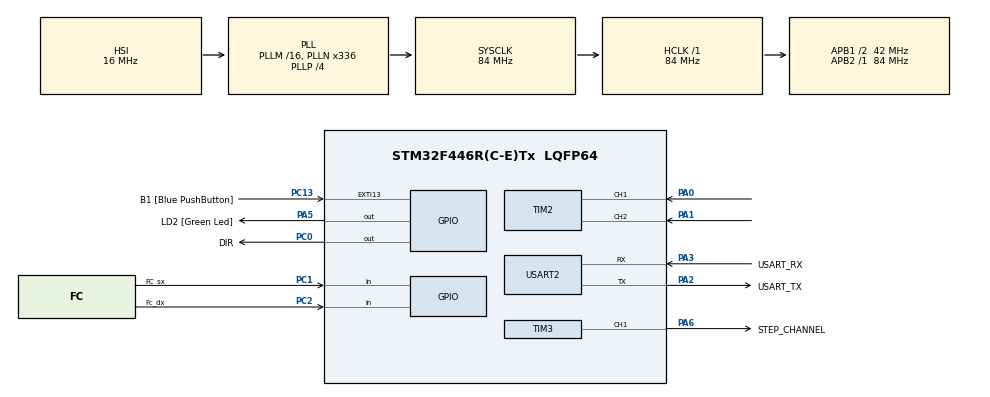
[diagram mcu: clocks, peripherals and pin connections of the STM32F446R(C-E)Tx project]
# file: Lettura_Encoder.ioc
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Mcu.Family=STM32F4
Mcu.Name=STM32F446R(C-E)Tx
Mcu.Package=LQFP64
NVIC.EXTI15_10_IRQn=true\:0\:0\:false\:false\:true\:true\:true\:false
NVIC.PriorityGroup=NVIC_PRIORITYGROUP_4
NVIC.TIM3_IRQn=true\:1\:0\:false\:false\:true\:true\:true\:true
PA0-WKUP.Signal=S_TIM2_CH1_ETR
PA1.Signal=S_TIM2_CH2
PA13.GPIO_Label=TMS
PA13.Mode=Serial_Wire
PA13.Signal=SYS_JTMS-SWDIO
PA14.GPIO_Label=TCK
PA14.Mode=Serial_Wire
PA14.Signal=SYS_JTCK-SWCLK
PA2.GPIO_Label=USART_TX
PA2.Mode=Asynchronous
PA2.Signal=USART2_TX
PA3.GPIO_Label=USART_RX
PA3.Mode=Asynchronous
PA3.Signal=USART2_RX
PA5.GPIO_Label=LD2 [Green Led]
PA5.Signal=GPIO_Output
PA6.GPIO_Label=STEP_CHANNEL
PA6.Signal=S_TIM3_CH1
PB3.GPIO_Label=SWO
PB3.Signal=SYS_JTDO-SWO
PC0.GPIO_Label=DIR
PC0.Signal=GPIO_Output
PC1.GPIO_Label=FC_sx
PC1.Signal=GPIO_Input
PC13.GPIO_Label=B1 [Blue PushButton]
PC13.GPIO_ModeDefaultEXTI=GPIO_MODE_IT_RISING_FALLING
PC13.Signal=GPXTI13
PC14-OSC32_IN.Mode=LSE-External-Oscillator
PC14-OSC32_IN.Signal=RCC_OSC32_IN
PC15-OSC32_OUT.Mode=LSE-External-Oscillator
PC15-OSC32_OUT.Signal=RCC_OSC32_OUT
PC2.GPIO_Label=Fc_dx
PC2.Signal=GPIO_Input
PH0-OSC_IN.Mode=HSE-External-Oscillator
PH0-OSC_IN.Signal=RCC_OSC_IN
PH1-OSC_OUT.Mode=HSE-External-Oscillator
PH1-OSC_OUT.Signal=RCC_OSC_OUT
ProjectManager.HeapSize=0x200
ProjectManager.StackSize=0x400
ProjectManager.TargetToolchain=STM32CubeIDE
RCC.48MHZClocksFreq_Value=84000000
RCC.AHBFreq_Value=84000000
RCC.APB1CLKDivider=RCC_HCLK_DIV2
RCC.APB1Freq_Value=42000000
RCC.APB1TimFreq_Value=84000000
RCC.APB2Freq_Value=84000000
RCC.APB2TimFreq_Value=84000000
RCC.CortexFreq_Value=84000000
RCC.FLatency-AdvancedSettings=FLASH_LATENCY_2
RCC.HCLKFreq_Value=84000000
RCC.HSE_VALUE=8000000
RCC.HSI_VALUE=16000000
RCC.PLLN=336
RCC.PLLP=RCC_PLLP_DIV4
RCC.SYSCLKFreq_VALUE=84000000
RCC.SYSCLKSource=RCC_SYSCLKSOURCE_PLLCLK
RCC.USBFreq_Value=168000000
RCC.VCOOutputFreq_Value=336000000
SH.S_TIM2_CH1_ETR.0=TIM2_CH1,Encoder_Interface
SH.S_TIM2_CH2.0=TIM2_CH2,Encoder_Interface
SH.S_TIM3_CH1.0=TIM3_CH1,PWM Generation1 CH1
TIM2.EncoderMode=TIM_ENCODERMODE_TI12
TIM3.AutoReloadPreload=TIM_AUTORELOAD_PRELOAD_ENABLE
TIM3.Channel-PWM\ Generation1\ CH1=TIM_CHANNEL_1
TIM3.Period=124
TIM3.Prescaler=83
TIM3.Pulse-PWM\ Generation1\ CH1=6
USART2.VirtualMode=VM_ASYNC
VP_TIM3_VS_ClockSourceINT.Mode=Internal
board=NUCLEO-F446RE

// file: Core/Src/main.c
/* USER CODE BEGIN Header */
/**
  ******************************************************************************
  * @file           : main.c
  * @brief          : Main program body
  ******************************************************************************
  * @attention
  *
  * Copyright (c) 2026 STMicroelectronics.
  * All rights reserved.
  *
  * This software is licensed under terms that can be found in the LICENSE file
  * in the root directory of this software component.
  * If no LICENSE file comes with this software, it is provided AS-IS.
  *
  ******************************************************************************
  */
/* USER CODE END Header */
#include "main.h"

/* USER CODE BEGIN Includes */
#include <math.h>

/* USER CODE END Includes */

/* USER CODE BEGIN PD */
#define MIRCOSTEP 32
#define STEP_CHANNEL TIM_CHANNEL_1
#define MIN_FREQUENCY MIRCOSTEP*100.0f
#define MAX_FREQUENCY MIRCOSTEP*1000.0f
#define STEPPER_ACCELERATION_HZ_PER_S 1600000.0f

// tutte i punti di rif sono da dietro
#define DIR_FORWARD  GPIO_PIN_SET   //SInistra (da dietro)
#define DIR_BACKWARD GPIO_PIN_RESET

#define HOMING_VELOCITY_HZ  MIN_FREQUENCY*2
#define HOMING_TIMEOUT_MS  120000U
#define BUTTON_RELEASE_MS  50U
/* USER CODE END PD */

TIM_HandleTypeDef htim2;
TIM_HandleTypeDef htim3;

UART_HandleTypeDef huart2;

/* USER CODE BEGIN PV */

// Var encoder
#define ENCODER_CPR  2400
#define HALF_CPR     1200
#define PI_F         3.14159265358979323846f

// Metti -1 se vuoi invertire il verso positivo dell'angolo.
#define ENCODER_SIGN  -1

static uint32_t conteggio_precedente = 0;
static int32_t posizione = HALF_CPR;

volatile float theta_deg = 180.0f;
volatile float theta_rad = PI_F;

// Var stepper
/* Soglia di partenza in Hz, modificabile prima di ogni movimento. */
float max_starting_frequency = 1000.0f;
static float stepper_target_frequency = MAX_FREQUENCY;
static float stepper_counter_clock;
static float stepper_start_frequency;
static uint32_t stepper_ramp_start_ms;
static uint32_t stepper_ramp_last_ms;
static volatile uint8_t stepper_ramp_active = 0;
volatile uint32_t step_count = 0;
volatile uint32_t step_target = 0;
volatile uint8_t stepper_running = 0;
static volatile GPIO_PinState stepper_direction = DIR_FORWARD;
static volatile uint8_t arresto_finecorsa = 0;

/* Riferimento del carrello: zero al finecorsa sinistro, positivo a destra.
 * Stima in impulsi STEP comandati, valida solo dopo homing riuscito.
 */
volatile int32_t posizione_carrello_steps = 0;
volatile int32_t posizione_carrello_min_steps = 0;
volatile int32_t posizione_carrello_max_steps = 0;
volatile uint32_t corsa_totale_steps = 0;
static volatile uint8_t riferimento_carrello_valido = 0;
volatile uint8_t carrello_inizializzato = 0;
volatile HAL_StatusTypeDef inizializzazione_esito = HAL_ERROR;

/* Il main e' l'unico contesto che puo' abilitare il controllo.
 * L'ISR puo' solo richiedere un avvio oppure fermare immediatamente.
 */
volatile uint8_t controllo_abilitato = 0;
static volatile uint8_t richiesta_avvio = 0;
static volatile uint8_t pulsante_pronto = 0;
static volatile uint8_t pulsante_inizializzato = 0;
static volatile uint32_t pulsante_rilascio_ms = 0;

/* USER CODE END PV */

void SystemClock_Config(void);
static void MX_GPIO_Init(void);
static void MX_USART2_UART_Init(void);
static void MX_TIM2_Init(void);
static void MX_TIM3_Init(void);

/* USER CODE BEGIN 0 */

/* Prima dell'abilitazione di B1, l'homing iniziale e' indipendente
 * dal comando del controllo. Dopo, ogni avvio richiede l'abilitazione.
 */
static uint8_t Stepper_MovimentoConsentito(void)
{
    return !pulsante_inizializzato || controllo_abilitato;
}

/* Attesa interrompibile: le vecchie sequenze devono uscire prima che
 * il main possa accettare una nuova richiesta di avvio.
 */
static uint8_t Controllo_Attendi(uint32_t durata_ms)
{
    uint32_t inizio = HAL_GetTick();
    while (Stepper_MovimentoConsentito()
           && (uint32_t)(HAL_GetTick() - inizio) < durata_ms)
        HAL_Delay(1);
    return Stepper_MovimentoConsentito();
}

/* Chiamata da SysTick durante i movimenti bloccanti nel main.
 * Nessun ritardo sul primo fronte di pressione; un'altra pressione viene
 * accettata solo dopo almeno 50 ms di rilascio stabile (PC13 alto).
 */
void Controllo_ButtonTick(void)
{
    if (!pulsante_inizializzato)
        return;
    uint32_t primask = __get_PRIMASK();
    __disable_irq();
    if (HAL_GPIO_ReadPin(B1_GPIO_Port, B1_Pin) == GPIO_PIN_RESET)
        pulsante_rilascio_ms = 0;
    else if (pulsante_rilascio_ms < BUTTON_RELEASE_MS)
        ++pulsante_rilascio_ms;
    else
        pulsante_pronto = 1;
    __set_PRIMASK(primask);
}

void Leggi_theta(){
	uint32_t conteggio = __HAL_TIM_GET_COUNTER(&htim2);

	int64_t delta = (int64_t)conteggio
				- (int64_t)conteggio_precedente;

	conteggio_precedente = conteggio;

	// Gestione del passaggio attraverso lo zero del timer a 32 bit.
	if (delta > 2147483647LL)
	  delta -= 4294967296LL;
	else if (delta < -2147483648LL)
	  delta += 4294967296LL;

	// Aggiorna la posizione e la riporta entro un giro.
	int64_t nuova_posizione =
	  ((int64_t)posizione + ENCODER_SIGN * delta) % ENCODER_CPR;

	// Intervallo conteggi: (-1200, +1200].
	if (nuova_posizione > HALF_CPR)
	  nuova_posizione -= ENCODER_CPR;
	else if (nuova_posizione <= -HALF_CPR)
	  nuova_posizione += ENCODER_CPR;

	posizione = (int32_t)nuova_posizione;

	// Le due uscite richieste.
	theta_deg = (float)posizione * (360.0f / ENCODER_CPR);
	theta_rad = (float)posizione * (2.0f * PI_F / ENCODER_CPR);
}

/* Pull-down esterno: 1 quando il contatto porta PC1 a livello alto,
 * 0 quando l'ingresso e' basso. Lettura istantanea senza antirimbalzo.
 */
uint8_t FinecorsaSinistro_Premuto(void)
{
    return HAL_GPIO_ReadPin(FC_sx_GPIO_Port, FC_sx_Pin) == GPIO_PIN_SET;
}

/* Come il sinistro: pull-down esterno, contatto premuto a livello alto. */
uint8_t FinecorsaDestro_Premuto(void)
{
    return HAL_GPIO_ReadPin(Fc_dx_GPIO_Port, Fc_dx_Pin) == GPIO_PIN_SET;
}

static uint8_t FinecorsaDirezione_Premuto(GPIO_PinState direction)
{
    return (direction == DIR_FORWARD) ? FinecorsaSinistro_Premuto()
                                      : FinecorsaDestro_Premuto();
}

void Stepper_SetDirection(GPIO_PinState dir)
{
    stepper_direction = dir;
    HAL_GPIO_WritePin(DIR_GPIO_Port, DIR_Pin, dir);
}

void Stepper_Stop(void)
{
    HAL_TIM_PWM_Stop_IT(&htim3, STEP_CHANNEL);
    stepper_running = 0;
    stepper_ramp_active = 0;
}

static void Controllo_Disabilita(void)
{
    controllo_abilitato = 0;
    Stepper_Stop();
    HAL_GPIO_WritePin(LD2_GPIO_Port, LD2_Pin, GPIO_PIN_RESET);
}

/* Chiamare solo dal main, dopo l'uscita da ogni sequenza precedente. */
static void Controllo_AccettaAvvio(void)
{
    uint32_t primask = __get_PRIMASK();
    __disable_irq();
    if (richiesta_avvio)
    {
        richiesta_avvio = 0;
        controllo_abilitato = 1;
        HAL_GPIO_WritePin(LD2_GPIO_Port, LD2_Pin, GPIO_PIN_SET);
    }
    __set_PRIMASK(primask);
}

/* Check e avvio devono essere indivisibili rispetto all'ISR di stop.
 * Sezione breve, senza attese: HAL_TIM_PWM_Start_IT scrive solo registri.
 * Nel main gli avvii richiedono B1; l'homing iniziale resta autonomo.
 */
static void Stepper_StartIfEnabled(void)
{
    uint32_t primask = __get_PRIMASK();
    __disable_irq();
    if (Stepper_MovimentoConsentito())
    {
        stepper_running = 1;
        if (HAL_TIM_PWM_Start_IT(&htim3, STEP_CHANNEL) != HAL_OK)
            Stepper_Stop();
    }
    else
        Stepper_Stop();
    __set_PRIMASK(primask);
}

static float Stepper_ClampFrequency(float frequency)
{
    if (!isfinite(frequency) || frequency < MIN_FREQUENCY)
        return MIN_FREQUENCY;
    if (frequency > MAX_FREQUENCY)
        return MAX_FREQUENCY;
    return frequency;
}

/* ARR e CCR vengono applicati insieme al prossimo periodo PWM.
 * Non generare UG durante il moto: troncherebbe il periodo corrente.
 */
static void Stepper_ApplyFrequency(float frequency)
{
    float period = ceilf(stepper_counter_clock / frequency);
    if (period > 65536.0f)
        period = 65536.0f;
    else if (period < 2.0f)
        period = 2.0f;
    uint32_t ticks = (uint32_t)period;

    /* Protegge anche il read/modify/write di CR1 da uno stop concorrente. */
    uint32_t primask = __get_PRIMASK();
    __disable_irq();
    SET_BIT(htim3.Instance->CR1, TIM_CR1_UDIS);
    __HAL_TIM_SET_AUTORELOAD(&htim3, ticks - 1U);
    __HAL_TIM_SET_COMPARE(&htim3, STEP_CHANNEL, ticks / 2U);
    CLEAR_BIT(htim3.Instance->CR1, TIM_CR1_UDIS);
    __set_PRIMASK(primask);
}

/* Chiamata a timer fermo per OGNI nuovo movimento, anche dopo uno stop
 * anticipato. La frequenza obiettivo resta separata da quella della rampa.
 */
static void Stepper_PrepareRamp(void)
{
    uint32_t timer_clock = HAL_RCC_GetPCLK1Freq();
    if ((RCC->CFGR & RCC_CFGR_PPRE1) != 0U)
        timer_clock *= 2U;
    stepper_counter_clock = (float)timer_clock / (htim3.Instance->PSC + 1U);

    stepper_target_frequency = Stepper_ClampFrequency(stepper_target_frequency);
    float starting_limit = Stepper_ClampFrequency(max_starting_frequency);
    stepper_start_frequency = fminf(stepper_target_frequency, starting_limit);
    stepper_ramp_active = stepper_target_frequency > stepper_start_frequency;
    Stepper_ApplyFrequency(stepper_start_frequency);
    htim3.Instance->EGR = TIM_EGR_UG;
    __HAL_TIM_SET_COUNTER(&htim3, 0);
    __HAL_TIM_CLEAR_FLAG(&htim3, TIM_FLAG_UPDATE | TIM_FLAG_CC1);
    stepper_ramp_start_ms = HAL_GetTick();
    stepper_ramp_last_ms = stepper_ramp_start_ms;
}

/* Aggiornamento non bloccante dal callback degli impulsi STEP.
 * La rampa e' lineare nel tempo e termina esattamente all'obiettivo.
 */
static void Stepper_UpdateRamp(void)
{
    if (!stepper_ramp_active)
        return;
    uint32_t now = HAL_GetTick();
    if (now == stepper_ramp_last_ms)
        return;
    stepper_ramp_last_ms = now;
    float frequency = stepper_start_frequency
        + STEPPER_ACCELERATION_HZ_PER_S * 0.001f
        * (uint32_t)(now - stepper_ramp_start_ms);
    if (frequency >= stepper_target_frequency)
    {
        frequency = stepper_target_frequency;
        stepper_ramp_active = 0;
    }
    Stepper_ApplyFrequency(frequency);
}

void Stepper_MoveSteps(uint32_t steps)
{
    Stepper_Stop();
    step_count = 0;
    step_target = steps;
    arresto_finecorsa = 0;

    if (!Stepper_MovimentoConsentito())
        return;
    if (FinecorsaDirezione_Premuto(stepper_direction))
    {
        arresto_finecorsa = 1;
        return;
    }
    if (steps == 0U)
        return;

    Stepper_PrepareRamp();
    Stepper_StartIfEnabled();
}

void Stepper_Move(GPIO_PinState direction, uint32_t steps)
{
    Stepper_Stop();
    Stepper_SetDirection(direction);
    if (!Controllo_Attendi(1))
        return;
    Stepper_MoveSteps(steps);

    while (stepper_running)
    {
        if (FinecorsaDirezione_Premuto(direction))
        {
            Stepper_Stop();
            arresto_finecorsa = 1;
        }
    }
}

/* velocity: impulsi STEP al secondo, limitati a MIN/MAX_FREQUENCY.
 * Valori non positivi/non finiti fermano il motore. Ogni chiamata riparte
 * al massimo da max_starting_frequency e accelera fino a velocity.
 */
void Stepper_set_velocity(GPIO_PinState direction, float velocity)
{
    Stepper_Stop();
    step_count = 0;
    step_target = 0; /* Zero identifica il movimento continuo. */
    arresto_finecorsa = 0;

    if (!Stepper_MovimentoConsentito() || !isfinite(velocity) || velocity <= 0.0f)
        return;

    stepper_target_frequency = Stepper_ClampFrequency(velocity);
    Stepper_SetDirection(direction);
    if (!Controllo_Attendi(1))
        return;
    if (FinecorsaDirezione_Premuto(direction))
    {
        arresto_finecorsa = 1;
        return;
    }

    Stepper_PrepareRamp();
    Stepper_StartIfEnabled();
}

/* Da qualsiasi posizione cerca lentamente il finecorsa destro e azzera
 * il conteggio; misura poi la corsa fino a sinistra e torna al centro a 8 kHz.
 * Il riferimento finale resta zero a sinistra, positivo a destra.
 * Chiamare dal main dopo MX_TIM3_Init(), mai da un interrupt.
 */
void Inizializza(void)
{
    Stepper_Stop();
    carrello_inizializzato = 0;
    riferimento_carrello_valido = 0;
    inizializzazione_esito = HAL_BUSY;
    arresto_finecorsa = 0;
    corsa_totale_steps = 0;
    posizione_carrello_min_steps = 0;
    posizione_carrello_max_steps = 0;
    posizione_carrello_steps = 0;

    /* Il controllo direzionale consente di partire anche da un finecorsa.
     * Se siamo gia' a destra, il motore non emette alcun impulso.
     */
    Stepper_set_velocity(DIR_BACKWARD, HOMING_VELOCITY_HZ);
    uint32_t inizio = HAL_GetTick();
    while (stepper_running)
    {
        /* L'ISR arresta il moto al termine della fase alta dello STEP. */
        if ((uint32_t)(HAL_GetTick() - inizio) >= HOMING_TIMEOUT_MS)
        {
            Stepper_Stop();
            inizializzazione_esito = HAL_TIMEOUT;
            return;
        }
        HAL_Delay(1);
    }

    Stepper_Stop();
    HAL_Delay(20);
    if (!arresto_finecorsa || !FinecorsaDestro_Premuto()
        || FinecorsaSinistro_Premuto())
    {
        inizializzazione_esito = HAL_ERROR;
        return;
    }

    /* Zero della misura della corsa al contatto destro confermato. */
    step_count = 0;
    posizione_carrello_steps = 0;
    Stepper_set_velocity(DIR_FORWARD, HOMING_VELOCITY_HZ);
    inizio = HAL_GetTick();
    while (stepper_running)
    {
        /* L'ISR conta l'impulso e controlla il finecorsa al termine
         * della fase alta: non troncare qui un impulso da contare.
         */
        if ((uint32_t)(HAL_GetTick() - inizio) >= HOMING_TIMEOUT_MS)
        {
            Stepper_Stop();
            inizializzazione_esito = HAL_TIMEOUT;
            return;
        }
        HAL_Delay(1);
    }

    Stepper_Stop();
    HAL_Delay(20); /* Conferma del contatto a motore fermo. */
    if (!arresto_finecorsa || !FinecorsaSinistro_Premuto()
        || step_count < 2U || step_count > INT32_MAX)
    {
        inizializzazione_esito = HAL_ERROR;
        return;
    }

    /* Salvare la misura prima che il prossimo movimento azzeri step_count. */
    corsa_totale_steps = step_count;
    posizione_carrello_min_steps = 0;
    posizione_carrello_max_steps = (int32_t)corsa_totale_steps;
    posizione_carrello_steps = posizione_carrello_min_steps;
    riferimento_carrello_valido = 1;

    /* Con corsa dispari, il centro e' arrotondato verso sinistra. */
    uint32_t passi_centro = corsa_totale_steps / 2U;
    Stepper_SetDirection(DIR_BACKWARD);
    HAL_Delay(1);
    stepper_target_frequency = MAX_FREQUENCY;
    Stepper_MoveSteps(passi_centro);
    inizio = HAL_GetTick();
    while (stepper_running)
    {
        if ((uint32_t)(HAL_GetTick() - inizio) >= HOMING_TIMEOUT_MS)
        {
            Stepper_Stop();
            riferimento_carrello_valido = 0;
            inizializzazione_esito = HAL_TIMEOUT;
            return;
        }
        HAL_Delay(1);
    }

    if (arresto_finecorsa || step_count != passi_centro)
    {
        riferimento_carrello_valido = 0;
        inizializzazione_esito = HAL_ERROR;
        return;
    }
    carrello_inizializzato = 1;
    inizializzazione_esito = HAL_OK;
}

/* USER CODE END 0 */

int main(void)
{

  /* MCU Configuration--------------------------------------------------------*/

  /* Reset of all peripherals, Initializes the Flash interface and the Systick. */
  HAL_Init();

  /* Configure the system clock */
  SystemClock_Config();

  /* Initialize all configured peripherals */
  MX_GPIO_Init();
  MX_USART2_UART_Init();
  MX_TIM2_Init();
  MX_TIM3_Init();
  /* USER CODE BEGIN 2 */

  __HAL_TIM_SET_COUNTER(&htim2, 0U);
  conteggio_precedente = 0U;

  if (HAL_TIM_Encoder_Start(&htim2, TIM_CHANNEL_ALL) != HAL_OK)
  {
      Error_Handler();
  }

  /* Homing automatico come prima, indipendente dal pulsante. */
  /*Inizializza();
  if (inizializzazione_esito != HAL_OK)
  {
      Error_Handler();
  }*/

  /* Da qui B1 abilita/disabilita solo il controllo nel ciclo principale.
   * Le pressioni durante l'homing non vengono accodate.
   */
  Stepper_Stop();
  __HAL_GPIO_EXTI_CLEAR_IT(B1_Pin);
  HAL_NVIC_ClearPendingIRQ(EXTI15_10_IRQn);
  pulsante_inizializzato = 1;
  HAL_NVIC_EnableIRQ(EXTI15_10_IRQn);

  /* USER CODE END 2 */

  /* Infinite loop */
  /* USER CODE BEGIN WHILE */
  while (1)
  {
      /*if (!controllo_abilitato)
      {
          /* La vecchia sequenza e' ormai uscita: un nuovo avvio e' lecito. */
          /*Controllo_AccettaAvvio();
          if (!controllo_abilitato)
          {
              HAL_Delay(1);
              continue;
          }
      }*/

      Leggi_theta();
      /* Sequenza di prova esistente, interamente subordinata a B1. */
      /*Stepper_Move(DIR_FORWARD, posizione_carrello_max_steps / 4);
      if (!Controllo_Attendi(500))
          continue;
      Stepper_Move(DIR_BACKWARD, posizione_carrello_max_steps / 2);
      if (!Controllo_Attendi(500))
          continue;
      Stepper_Move(DIR_FORWARD, posizione_carrello_max_steps / 4);
      if (!Controllo_Attendi(2000))
          continue;
      */
    /* USER CODE END WHILE */

  }
}

void SystemClock_Config(void)
{
  RCC_OscInitTypeDef RCC_OscInitStruct = {0};
  RCC_ClkInitTypeDef RCC_ClkInitStruct = {0};

  /** Configure the main internal regulator output voltage
  */
  __HAL_RCC_PWR_CLK_ENABLE();
  __HAL_PWR_VOLTAGESCALING_CONFIG(PWR_REGULATOR_VOLTAGE_SCALE3);

  /** Initializes the RCC Oscillators according to the specified parameters
  * in the RCC_OscInitTypeDef structure.
  */
  RCC_OscInitStruct.OscillatorType = RCC_OSCILLATORTYPE_HSI;
  RCC_OscInitStruct.HSIState = RCC_HSI_ON;
  RCC_OscInitStruct.HSICalibrationValue = RCC_HSICALIBRATION_DEFAULT;
  RCC_OscInitStruct.PLL.PLLState = RCC_PLL_ON;
  RCC_OscInitStruct.PLL.PLLSource = RCC_PLLSOURCE_HSI;
  RCC_OscInitStruct.PLL.PLLM = 16;
  RCC_OscInitStruct.PLL.PLLN = 336;
  RCC_OscInitStruct.PLL.PLLP = RCC_PLLP_DIV4;
  RCC_OscInitStruct.PLL.PLLQ = 2;
  RCC_OscInitStruct.PLL.PLLR = 2;
  if (HAL_RCC_OscConfig(&RCC_OscInitStruct) != HAL_OK)
  {
    Error_Handler();
  }

  /** Initializes the CPU, AHB and APB buses clocks
  */
  RCC_ClkInitStruct.ClockType = RCC_CLOCKTYPE_HCLK|RCC_CLOCKTYPE_SYSCLK
                              |RCC_CLOCKTYPE_PCLK1|RCC_CLOCKTYPE_PCLK2;
  RCC_ClkInitStruct.SYSCLKSource = RCC_SYSCLKSOURCE_PLLCLK;
  RCC_ClkInitStruct.AHBCLKDivider = RCC_SYSCLK_DIV1;
  RCC_ClkInitStruct.APB1CLKDivider = RCC_HCLK_DIV2;
  RCC_ClkInitStruct.APB2CLKDivider = RCC_HCLK_DIV1;

  if (HAL_RCC_ClockConfig(&RCC_ClkInitStruct, FLASH_LATENCY_2) != HAL_OK)
  {
    Error_Handler();
  }
}

static void MX_TIM2_Init(void)
{

  TIM_Encoder_InitTypeDef sConfig = {0};
  TIM_MasterConfigTypeDef sMasterConfig = {0};

  htim2.Instance = TIM2;
  htim2.Init.Prescaler = 0;
  htim2.Init.CounterMode = TIM_COUNTERMODE_UP;
  htim2.Init.Period = 4294967295;
  htim2.Init.ClockDivision = TIM_CLOCKDIVISION_DIV1;
  htim2.Init.AutoReloadPreload = TIM_AUTORELOAD_PRELOAD_DISABLE;
  sConfig.EncoderMode = TIM_ENCODERMODE_TI12;
  sConfig.IC1Polarity = TIM_ICPOLARITY_RISING;
  sConfig.IC1Selection = TIM_ICSELECTION_DIRECTTI;
  sConfig.IC1Prescaler = TIM_ICPSC_DIV1;
  sConfig.IC1Filter = 0;
  sConfig.IC2Polarity = TIM_ICPOLARITY_RISING;
  sConfig.IC2Selection = TIM_ICSELECTION_DIRECTTI;
  sConfig.IC2Prescaler = TIM_ICPSC_DIV1;
  sConfig.IC2Filter = 0;
  if (HAL_TIM_Encoder_Init(&htim2, &sConfig) != HAL_OK)
  {
    Error_Handler();
  }
  sMasterConfig.MasterOutputTrigger = TIM_TRGO_RESET;
  sMasterConfig.MasterSlaveMode = TIM_MASTERSLAVEMODE_DISABLE;
  if (HAL_TIMEx_MasterConfigSynchronization(&htim2, &sMasterConfig) != HAL_OK)
  {
    Error_Handler();
  }

}

static void MX_TIM3_Init(void)
{

  TIM_ClockConfigTypeDef sClockSourceConfig = {0};
  TIM_MasterConfigTypeDef sMasterConfig = {0};
  TIM_OC_InitTypeDef sConfigOC = {0};

  htim3.Instance = TIM3;
  htim3.Init.Prescaler = 83;
  htim3.Init.CounterMode = TIM_COUNTERMODE_UP;
  htim3.Init.Period = 124;
  htim3.Init.ClockDivision = TIM_CLOCKDIVISION_DIV1;
  htim3.Init.AutoReloadPreload = TIM_AUTORELOAD_PRELOAD_ENABLE;
  if (HAL_TIM_Base_Init(&htim3) != HAL_OK)
  {
    Error_Handler();
  }
  sClockSourceConfig.ClockSource = TIM_CLOCKSOURCE_INTERNAL;
  if (HAL_TIM_ConfigClockSource(&htim3, &sClockSourceConfig) != HAL_OK)
  {
    Error_Handler();
  }
  if (HAL_TIM_PWM_Init(&htim3) != HAL_OK)
  {
    Error_Handler();
  }
  sMasterConfig.MasterOutputTrigger = TIM_TRGO_RESET;
  sMasterConfig.MasterSlaveMode = TIM_MASTERSLAVEMODE_DISABLE;
  if (HAL_TIMEx_MasterConfigSynchronization(&htim3, &sMasterConfig) != HAL_OK)
  {
    Error_Handler();
  }
  sConfigOC.OCMode = TIM_OCMODE_PWM1;
  sConfigOC.Pulse = 6;
  sConfigOC.OCPolarity = TIM_OCPOLARITY_HIGH;
  sConfigOC.OCFastMode = TIM_OCFAST_DISABLE;
  if (HAL_TIM_PWM_ConfigChannel(&htim3, &sConfigOC, TIM_CHANNEL_1) != HAL_OK)
  {
    Error_Handler();
  }
  HAL_TIM_MspPostInit(&htim3);

}

static void MX_USART2_UART_Init(void)
{

  huart2.Instance = USART2;
  huart2.Init.BaudRate = 115200;
  huart2.Init.WordLength = UART_WORDLENGTH_8B;
  huart2.Init.StopBits = UART_STOPBITS_1;
  huart2.Init.Parity = UART_PARITY_NONE;
  huart2.Init.Mode = UART_MODE_TX_RX;
  huart2.Init.HwFlowCtl = UART_HWCONTROL_NONE;
  huart2.Init.OverSampling = UART_OVERSAMPLING_16;
  if (HAL_UART_Init(&huart2) != HAL_OK)
  {
    Error_Handler();
  }

}

static void MX_GPIO_Init(void)
{
  GPIO_InitTypeDef GPIO_InitStruct = {0};

  /* GPIO Ports Clock Enable */
  __HAL_RCC_GPIOC_CLK_ENABLE();
  __HAL_RCC_GPIOH_CLK_ENABLE();
  __HAL_RCC_GPIOA_CLK_ENABLE();
  __HAL_RCC_GPIOB_CLK_ENABLE();

  /*Configure GPIO pin Output Level */
  HAL_GPIO_WritePin(DIR_GPIO_Port, DIR_Pin, GPIO_PIN_RESET);

  /*Configure GPIO pin Output Level */
  HAL_GPIO_WritePin(LD2_GPIO_Port, LD2_Pin, GPIO_PIN_RESET);

  /*Configure GPIO pin : B1_Pin */
  GPIO_InitStruct.Pin = B1_Pin;
  GPIO_InitStruct.Mode = GPIO_MODE_IT_RISING_FALLING;
  GPIO_InitStruct.Pull = GPIO_NOPULL;
  HAL_GPIO_Init(B1_GPIO_Port, &GPIO_InitStruct);

  /*Configure GPIO pin : DIR_Pin */
  GPIO_InitStruct.Pin = DIR_Pin;
  GPIO_InitStruct.Mode = GPIO_MODE_OUTPUT_PP;
  GPIO_InitStruct.Pull = GPIO_NOPULL;
  GPIO_InitStruct.Speed = GPIO_SPEED_FREQ_LOW;
  HAL_GPIO_Init(DIR_GPIO_Port, &GPIO_InitStruct);

  /*Configure GPIO pins : FC_sx_Pin Fc_dx_Pin */
  GPIO_InitStruct.Pin = FC_sx_Pin|Fc_dx_Pin;
  GPIO_InitStruct.Mode = GPIO_MODE_INPUT;
  GPIO_InitStruct.Pull = GPIO_NOPULL;
  HAL_GPIO_Init(GPIOC, &GPIO_InitStruct);

  /*Configure GPIO pin : LD2_Pin */
  GPIO_InitStruct.Pin = LD2_Pin;
  GPIO_InitStruct.Mode = GPIO_MODE_OUTPUT_PP;
  GPIO_InitStruct.Pull = GPIO_NOPULL;
  GPIO_InitStruct.Speed = GPIO_SPEED_FREQ_LOW;
  HAL_GPIO_Init(LD2_GPIO_Port, &GPIO_InitStruct);

/* USER CODE BEGIN MX_GPIO_Init_2 */
  /* Abilitazione rimandata al main, dopo Inizializza(). */
  HAL_NVIC_DisableIRQ(EXTI15_10_IRQn);
  HAL_NVIC_SetPriority(EXTI15_10_IRQn, 0, 0);
/* USER CODE END MX_GPIO_Init_2 */
}

/* USER CODE BEGIN 4 */
void HAL_GPIO_EXTI_Callback(uint16_t GPIO_Pin)
{
    if (GPIO_Pin != B1_Pin || !pulsante_inizializzato)
        return;
    /* Entrambi i fronti azzerano il tempo di rilascio: anche un breve
     * rimbalzo fra due SysTick non puo' riarmare il pulsante. */
    pulsante_rilascio_ms = 0;
    if (HAL_GPIO_ReadPin(B1_GPIO_Port, B1_Pin) != GPIO_PIN_RESET
        || !pulsante_pronto)
        return;
    pulsante_pronto = 0;
    if (controllo_abilitato || richiesta_avvio)
    {
        richiesta_avvio = 0;
        Controllo_Disabilita(); /* Stop PWM qui, senza attendere il main. */
    }
    else
        richiesta_avvio = 1; /* Avvio del controllo nel ciclo principale. */
}

void HAL_TIM_PWM_PulseFinishedCallback(TIM_HandleTypeDef *htim)
{
    if (htim->Instance != TIM3 || htim->Channel != HAL_TIM_ACTIVE_CHANNEL_1
        || !stepper_running || !Stepper_MovimentoConsentito())
        return;

    step_count++;
    if (riferimento_carrello_valido)
        posizione_carrello_steps += (stepper_direction == DIR_FORWARD) ? -1 : 1;

    if (FinecorsaDirezione_Premuto(stepper_direction))
    {
        Stepper_Stop();
        arresto_finecorsa = 1;
        return;
    }

    /* Il movimento continuo non ha un numero di passi limite. */
    if (step_target != 0U && step_count >= step_target)
    {
        Stepper_Stop();
        return;
    }
    Stepper_UpdateRamp();
}

/* USER CODE END 4 */

void Error_Handler(void)
{
  /* USER CODE BEGIN Error_Handler_Debug */
  /* User can add his own implementation to report the HAL error return state */
  __disable_irq();
  /* Fermare l'hardware PRIMA del blocco: il PWM continua senza CPU. */
  if (htim3.Instance == TIM3)
      Controllo_Disabilita();
  while (1)
  {
  }
  /* USER CODE END Error_Handler_Debug */
}
